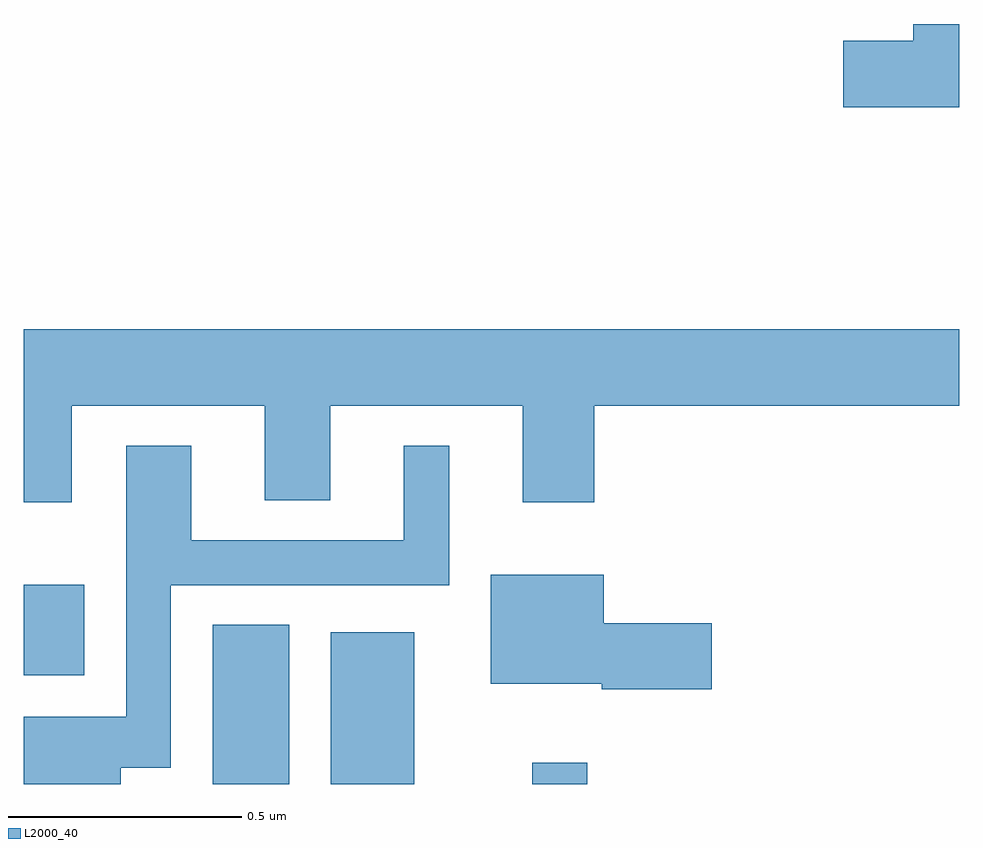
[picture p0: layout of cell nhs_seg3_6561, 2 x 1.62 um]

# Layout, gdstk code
import gdstk
lib = gdstk.Library(unit=1e-6, precision=1e-09)
def R(c, l, rs):  # rectangles x0, y0, x1, y1
    for r in rs: c.add(gdstk.rectangle(r[:2], r[2:], *l))
def P(c, l, *ps):  # polygons
    for p in ps: c.add(gdstk.Polygon(p, *l))
L2000_40 = (2000, 40)

nhs_seg3_6561 = lib.new_cell('nhs_seg3_6561')
R(nhs_seg3_6561, L2000_40, [(192.404,741.4,192.568,741.74), (192.656,741.4,192.835,741.724), (193.087,741.4,193.205,741.445), (192,741.632,192.13,741.826)])
P(nhs_seg3_6561, L2000_40, [(194,743.024),(193.901,743.024),(193.901,742.988),(193.752,742.988),(193.752,742.846),(194,742.846)],
  [(192.103,742.208),(192.515,742.208),(192.515,742.006),(192.655,742.006),(192.655,742.208),(193.067,742.208),(193.067,742.002),(193.22,742.002),(193.22,742.208),(194,742.208),(194,742.372),(192,742.372),(192,742.002),(192.103,742.002)],
  [(192.208,741.435),(192.315,741.435),(192.315,741.825),(192.91,741.825),(192.91,742.123),(192.812,742.123),(192.812,741.921),(192.358,741.921),(192.358,742.123),(192.219,742.123),(192.219,741.544),(192,741.544),(192,741.4),(192.208,741.4)],
  [(193.471,741.744),(193.24,741.744),(193.24,741.847),(192.998,741.847),(192.998,741.614),(193.236,741.614),(193.236,741.602),(193.471,741.602)])

lib.write_gds('nhs_seg3_6561.gds')
